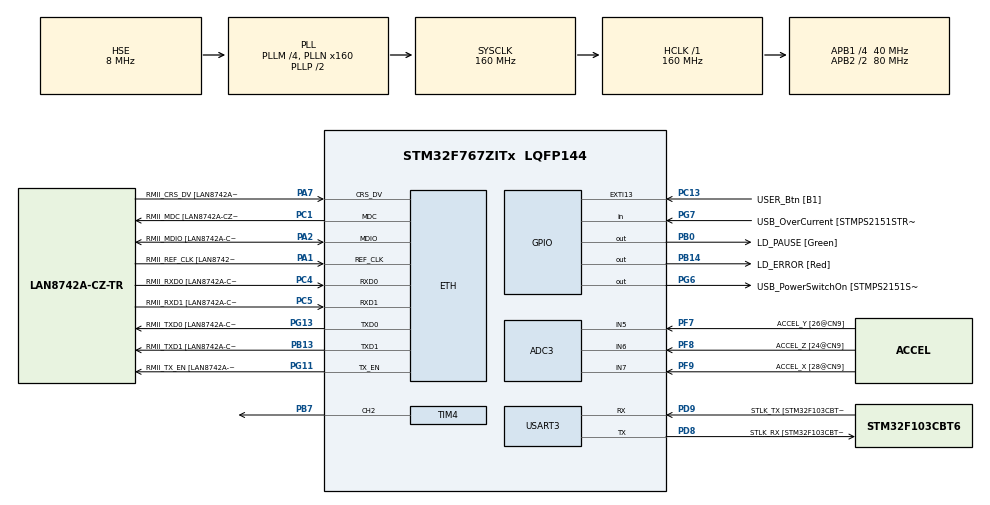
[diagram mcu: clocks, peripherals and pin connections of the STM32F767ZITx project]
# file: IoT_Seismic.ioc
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ADC3.Channel-1\#ChannelRegularConversion=ADC_CHANNEL_7
ADC3.Channel-2\#ChannelRegularConversion=ADC_CHANNEL_5
ADC3.Channel-3\#ChannelRegularConversion=ADC_CHANNEL_6
ADC3.DMAContinuousRequests=ENABLE
ADC3.EOCSelection=ADC_EOC_SEQ_CONV
ADC3.ExternalTrigConv=ADC_EXTERNALTRIGCONV_T6_TRGO
ADC3.NbrOfConversion=3
ADC3.NbrOfConversionFlag=1
ADC3.Rank-1\#ChannelRegularConversion=1
ADC3.Rank-2\#ChannelRegularConversion=2
ADC3.Rank-3\#ChannelRegularConversion=3
ADC3.SamplingTime-1\#ChannelRegularConversion=ADC_SAMPLETIME_3CYCLES
ADC3.SamplingTime-2\#ChannelRegularConversion=ADC_SAMPLETIME_3CYCLES
ADC3.SamplingTime-3\#ChannelRegularConversion=ADC_SAMPLETIME_3CYCLES
Dma.ADC3.0.Direction=DMA_PERIPH_TO_MEMORY
Dma.ADC3.0.FIFOMode=DMA_FIFOMODE_DISABLE
Dma.ADC3.0.Instance=DMA2_Stream0
Dma.ADC3.0.MemDataAlignment=DMA_MDATAALIGN_HALFWORD
Dma.ADC3.0.MemInc=DMA_MINC_ENABLE
Dma.ADC3.0.Mode=DMA_CIRCULAR
Dma.ADC3.0.PeriphDataAlignment=DMA_PDATAALIGN_HALFWORD
Dma.ADC3.0.PeriphInc=DMA_PINC_DISABLE
Dma.ADC3.0.Priority=DMA_PRIORITY_LOW
Dma.Request0=ADC3
ETH.MACAddr=00\:80\:E1\:00\:00\:03
ETH.MediaInterface=HAL_ETH_RMII_MODE
FREERTOS.INCLUDE_uxTaskGetStackHighWaterMark=1
FREERTOS.INCLUDE_vTaskDelayUntil=1
FREERTOS.Tasks01=systemConductor,2,256,SystemConductor,Default,NULL,Dynamic,NULL,NULL
FREERTOS.configTOTAL_HEAP_SIZE=393216
FREERTOS.configUSE_NEWLIB_REENTRANT=1
FREERTOS.configUSE_TIMERS=0
LWIP.BSP.number=1
LWIP.GATEWAY_ADDRESS=192.168.001.001
LWIP.IP_ADDRESS=192.168.001.183
LWIP.IP_FORWARD_ALLOW_TX_ON_RX_NETIF=1
LWIP.IP_SOF_BROADCAST=1
LWIP.IP_SOF_BROADCAST_RECV=1
LWIP.LWIP_DHCP=0
LWIP.LWIP_DNS=1
LWIP.LWIP_ICMP=1
LWIP.LWIP_RAW=0
LWIP.LWIP_SINGLE_NETIF=0
LWIP.LWIP_SO_RCVTIMEO=1
LWIP.LWIP_SO_SNDTIMEO=0
LWIP.LWIP_TCPIP_CORE_LOCKING=0
LWIP.MEM_SIZE=16000
LWIP.NETMASK_ADDRESS=255.255.255.000
LWIP.Version=v2.1.2_Cube
LWIP0.BSP.STBoard=false
LWIP0.BSP.api=BSP_COMPONENT_DRIVER
LWIP0.BSP.component=LAN8742
LWIP0.BSP.instance=LAN8742
LWIP0.BSP.name=Driver_PHY
LWIP0.BSP.semaphore=S_LAN8742
LWIP0.BSP.solution=LAN8742
Mcu.Family=STM32F7
Mcu.Name=STM32F767ZITx
Mcu.Package=LQFP144
NVIC.ADC_IRQn=true\:5\:0\:false\:false\:true\:true\:true\:true\:true
NVIC.DMA2_Stream0_IRQn=true\:5\:0\:false\:false\:true\:true\:false\:true\:true
NVIC.ETH_IRQn=true\:5\:0\:false\:false\:true\:true\:false\:true\:true
NVIC.EXTI15_10_IRQn=true\:5\:0\:false\:false\:true\:true\:true\:true\:true
NVIC.PriorityGroup=NVIC_PRIORITYGROUP_4
NVIC.TIM1_UP_TIM10_IRQn=true\:15\:0\:false\:false\:true\:false\:false\:true\:true
NVIC.TIM6_DAC_IRQn=true\:5\:0\:false\:false\:true\:true\:true\:true\:true
NVIC.TimeBase=TIM1_UP_TIM10_IRQn
NVIC.TimeBaseIP=TIM1
PA1.GPIO_Label=RMII_REF_CLK [LAN8742A-CZ-TR_REFCLK0]
PA1.Mode=RMII
PA1.Signal=ETH_REF_CLK
PA10.GPIO_Label=USB_ID
PA10.Signal=USB_OTG_FS_ID
PA11.GPIO_Label=USB_DM
PA11.Signal=USB_OTG_FS_DM
PA12.GPIO_Label=USB_DP
PA12.Signal=USB_OTG_FS_DP
PA13.GPIO_Label=TMS
PA13.Signal=SYS_JTMS-SWDIO
PA14.GPIO_Label=TCK
PA14.Signal=SYS_JTCK-SWCLK
PA2.GPIO_Label=RMII_MDIO [LAN8742A-CZ-TR_MDIO]
PA2.Mode=RMII
PA2.Signal=ETH_MDIO
PA7.GPIO_Label=RMII_CRS_DV [LAN8742A-CZ-TR_CRS_DV]
PA7.Mode=RMII
PA7.Signal=ETH_CRS_DV
PA8.GPIO_Label=USB_SOF [TP1]
PA8.Signal=USB_OTG_FS_SOF
PA9.GPIO_Label=USB_VBUS
PA9.Signal=USB_OTG_FS_VBUS
PB0.GPIO_Label=LD_PAUSE [Green]
PB0.Signal=GPIO_Output
PB13.GPIO_Label=RMII_TXD1 [LAN8742A-CZ-TR_TXD1]
PB13.Mode=RMII
PB13.Signal=ETH_TXD1
PB14.GPIO_Label=LD_ERROR [Red]
PB14.Signal=GPIO_Output
PB3.GPIO_Label=SW0
PB3.Signal=SYS_JTDO-SWO
PB7.Signal=S_TIM4_CH2
PC1.GPIO_Label=RMII_MDC [LAN8742A-CZ-TR_MDC]
PC1.Mode=RMII
PC1.Signal=ETH_MDC
PC13.GPIO_Label=USER_Btn [B1]
PC13.Signal=GPXTI13
PC14/OSC32_IN.Signal=RCC_OSC32_IN
PC15/OSC32_OUT.Signal=RCC_OSC32_OUT
PC4.GPIO_Label=RMII_RXD0 [LAN8742A-CZ-TR_RXD0]
PC4.Mode=RMII
PC4.Signal=ETH_RXD0
PC5.GPIO_Label=RMII_RXD1 [LAN8742A-CZ-TR_RXD1]
PC5.Mode=RMII
PC5.Signal=ETH_RXD1
PD8.GPIO_Label=STLK_RX [STM32F103CBT6_PA3]
PD8.Mode=Asynchronous
PD8.Signal=USART3_TX
PD9.GPIO_Label=STLK_TX [STM32F103CBT6_PA2]
PD9.Mode=Asynchronous
PD9.Signal=USART3_RX
PF7.GPIO_Label=ACCEL_Y [26@CN9]
PF7.Mode=IN5
PF7.Signal=ADC3_IN5
PF8.GPIO_Label=ACCEL_Z [24@CN9]
PF8.Mode=IN6
PF8.Signal=ADC3_IN6
PF9.GPIO_Label=ACCEL_X [28@CN9]
PF9.Mode=IN7
PF9.Signal=ADC3_IN7
PG11.GPIO_Label=RMII_TX_EN [LAN8742A-CZ-TR_TXEN]
PG11.Mode=RMII
PG11.Signal=ETH_TX_EN
PG13.GPIO_Label=RMII_TXD0 [LAN8742A-CZ-TR_TXD0]
PG13.Mode=RMII
PG13.Signal=ETH_TXD0
PG6.GPIO_Label=USB_PowerSwitchOn [STMPS2151STR_EN]
PG6.Signal=GPIO_Output
PG7.GPIO_Label=USB_OverCurrent [STMPS2151STR_FAULT]
PG7.Signal=GPIO_Input
PH0/OSC_IN.GPIO_Label=MCO [STM32F103CBT6_PA8]
PH0/OSC_IN.Mode=HSE-External-Clock-Source
PH0/OSC_IN.Signal=RCC_OSC_IN
PH1/OSC_OUT.Mode=HSE-External-Clock-Source
PH1/OSC_OUT.Signal=RCC_OSC_OUT
ProjectManager.HeapSize=0x200
ProjectManager.StackSize=0x400
ProjectManager.TargetToolchain=STM32CubeIDE
RCC.48MHZClocksFreq_Value=24000000
RCC.AHBFreq_Value=160000000
RCC.APB1CLKDivider=RCC_HCLK_DIV4
RCC.APB1Freq_Value=40000000
RCC.APB1TimFreq_Value=80000000
RCC.APB2CLKDivider=RCC_HCLK_DIV2
RCC.APB2Freq_Value=80000000
RCC.APB2TimFreq_Value=160000000
RCC.CortexFreq_Value=160000000
RCC.HCLKFreq_Value=160000000
RCC.HSE_VALUE=8000000
RCC.HSI_VALUE=16000000
RCC.LSE_VALUE=32768
RCC.PLLM=4
RCC.PLLMUL=RCC_PLL_MUL9
RCC.PLLN=160
RCC.PLLSourceVirtual=RCC_PLLSOURCE_HSE
RCC.PRESCALERUSB=RCC_USBCLKSOURCE_PLL_DIV1_5
RCC.SYSCLKFreq_VALUE=160000000
RCC.SYSCLKSource=RCC_SYSCLKSOURCE_PLLCLK
RCC.SYSCLKSourceVirtual=RCC_SYSCLKSOURCE_PLLCLK
RCC.USART3CLockSelection=RCC_USART3CLKSOURCE_HSI
RCC.USBFreq_Value=160000000
RCC.VCOOutputFreq_Value=320000000
SH.S_TIM4_CH2.0=TIM4_CH2,Output Compare2 CH2
TIM4.Channel-Output\ Compare2\ CH2=TIM_CHANNEL_2
TIM4.OCMode_2=TIM_OCMODE_TOGGLE
TIM4.Period=50000-1
TIM4.Prescaler=800-1
TIM4.Pulse-Output\ Compare2\ CH2=50000-1
TIM6.Period=10000-1
TIM6.Prescaler=80-1
TIM6.TIM_MasterOutputTrigger=TIM_TRGO_UPDATE
USART3.VirtualMode-Asynchronous=VM_ASYNC
VP_FREERTOS_VS_CMSIS_V1.Mode=CMSIS_V1
VP_LWIP_VS_Enabled.Mode=Enabled
VP_RTC_VS_RTC_Activate.Mode=RTC_Enabled
VP_RTC_VS_RTC_Calendar.Mode=RTC_Calendar
VP_SYS_VS_tim1.Mode=TIM1
VP_TIM6_VS_ClockSourceINT.Mode=Enable_Timer
board=NUCLEO-F767ZI

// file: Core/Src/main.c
/* USER CODE BEGIN Header */
/**
  ******************************************************************************
  * @file           : main.c
  * @brief          : Main program body
  ******************************************************************************
  * @attention
  *
  * Copyright (c) 2025 STMicroelectronics.
  * All rights reserved.
  *
  * This software is licensed under terms that can be found in the LICENSE file
  * in the root directory of this software component.
  * If no LICENSE file comes with this software, it is provided AS-IS.
  *
  ******************************************************************************
  */
/* USER CODE END Header */
#include "main.h"
#include "cmsis_os.h"
#include "lwip.h"

/* USER CODE BEGIN Includes */
#include "seismic.h"
#include "seismic_io.h"
#include "seismic_log.h"
#include "seismic_net.h"
/* USER CODE END Includes */

/* USER CODE BEGIN PD */
#define DEBUG_MEMORY             (1)
#define DEBUG_POLLING_DELAY      (60000)
#define SYS_DEBOUNCE_MSEC        (100)
/* USER CODE END PD */

ADC_HandleTypeDef hadc3;
DMA_HandleTypeDef hdma_adc3;

RTC_HandleTypeDef hrtc;

TIM_HandleTypeDef htim4;
TIM_HandleTypeDef htim6;

UART_HandleTypeDef huart3;

osThreadId systemConductorHandle;
/* USER CODE BEGIN PV */
#if DEBUG_MEMORY
osThreadId memoryAnalyserHandle;
#endif

uint16_t accelDmaBuffer[ACCEL_SAMPLES] = {0x00};
uint8_t tasksState = SYS_TASKS_PAUSED;

/* USER CODE END PV */

void SystemClock_Config(void);
static void MX_GPIO_Init(void);
static void MX_DMA_Init(void);
static void MX_USART3_UART_Init(void);
static void MX_RTC_Init(void);
static void MX_ADC3_Init(void);
static void MX_TIM6_Init(void);
static void MX_TIM4_Init(void);
void SystemConductor(void const * argument);

/* USER CODE BEGIN PFP */
#if DEBUG_MEMORY
void MemoryAnalyser(void const * argument);
#endif
/* USER CODE END PFP */

int main(void)
{

  /* MCU Configuration--------------------------------------------------------*/

  /* Reset of all peripherals, Initializes the Flash interface and the Systick. */
  HAL_Init();

  /* Configure the system clock */
  SystemClock_Config();

  /* Initialize all configured peripherals */
  MX_GPIO_Init();
  MX_DMA_Init();
  MX_USART3_UART_Init();
  MX_RTC_Init();
  MX_ADC3_Init();
  MX_TIM6_Init();
  MX_TIM4_Init();

  /* Create the thread(s) */
  /* definition and creation of systemConductor */
  osThreadDef(systemConductor, SystemConductor, osPriorityHigh, 0, 256);
  systemConductorHandle = osThreadCreate(osThread(systemConductor), NULL);

  /* USER CODE BEGIN RTOS_THREADS */
  initLogger(&huart3);
  initIOs(&htim4, &htim6);
  initNetwork();

#if DEBUG_MEMORY
  osThreadDef(memoryAnalyser, MemoryAnalyser, osPriorityNormal, 0, 256);
  memoryAnalyserHandle = osThreadCreate(osThread(memoryAnalyser), NULL);
#endif
  /* USER CODE END RTOS_THREADS */

  /* Start scheduler */
  osKernelStart();

  /* We should never get here as control is now taken by the scheduler */

  /* Infinite loop */
  while (1)
  {

  }
}

void SystemClock_Config(void)
{
  RCC_OscInitTypeDef RCC_OscInitStruct = {0};
  RCC_ClkInitTypeDef RCC_ClkInitStruct = {0};

  /** Configure the main internal regulator output voltage
  */
  __HAL_RCC_PWR_CLK_ENABLE();
  __HAL_PWR_VOLTAGESCALING_CONFIG(PWR_REGULATOR_VOLTAGE_SCALE2);

  /** Initializes the RCC Oscillators according to the specified parameters
  * in the RCC_OscInitTypeDef structure.
  */
  RCC_OscInitStruct.OscillatorType = RCC_OSCILLATORTYPE_HSI|RCC_OSCILLATORTYPE_LSI
                              |RCC_OSCILLATORTYPE_HSE;
  RCC_OscInitStruct.HSEState = RCC_HSE_BYPASS;
  RCC_OscInitStruct.HSIState = RCC_HSI_ON;
  RCC_OscInitStruct.HSICalibrationValue = RCC_HSICALIBRATION_DEFAULT;
  RCC_OscInitStruct.LSIState = RCC_LSI_ON;
  RCC_OscInitStruct.PLL.PLLState = RCC_PLL_ON;
  RCC_OscInitStruct.PLL.PLLSource = RCC_PLLSOURCE_HSE;
  RCC_OscInitStruct.PLL.PLLM = 4;
  RCC_OscInitStruct.PLL.PLLN = 160;
  RCC_OscInitStruct.PLL.PLLP = RCC_PLLP_DIV2;
  RCC_OscInitStruct.PLL.PLLQ = 2;
  RCC_OscInitStruct.PLL.PLLR = 2;
  if (HAL_RCC_OscConfig(&RCC_OscInitStruct) != HAL_OK)
  {
    Error_Handler();
  }

  /** Initializes the CPU, AHB and APB buses clocks
  */
  RCC_ClkInitStruct.ClockType = RCC_CLOCKTYPE_HCLK|RCC_CLOCKTYPE_SYSCLK
                              |RCC_CLOCKTYPE_PCLK1|RCC_CLOCKTYPE_PCLK2;
  RCC_ClkInitStruct.SYSCLKSource = RCC_SYSCLKSOURCE_PLLCLK;
  RCC_ClkInitStruct.AHBCLKDivider = RCC_SYSCLK_DIV1;
  RCC_ClkInitStruct.APB1CLKDivider = RCC_HCLK_DIV4;
  RCC_ClkInitStruct.APB2CLKDivider = RCC_HCLK_DIV2;

  if (HAL_RCC_ClockConfig(&RCC_ClkInitStruct, FLASH_LATENCY_5) != HAL_OK)
  {
    Error_Handler();
  }
}

static void MX_ADC3_Init(void)
{

  ADC_ChannelConfTypeDef sConfig = {0};

  /** Configure the global features of the ADC (Clock, Resolution, Data Alignment and number of conversion)
  */
  hadc3.Instance = ADC3;
  hadc3.Init.ClockPrescaler = ADC_CLOCK_SYNC_PCLK_DIV4;
  hadc3.Init.Resolution = ADC_RESOLUTION_12B;
  hadc3.Init.ScanConvMode = ADC_SCAN_ENABLE;
  hadc3.Init.ContinuousConvMode = DISABLE;
  hadc3.Init.DiscontinuousConvMode = DISABLE;
  hadc3.Init.ExternalTrigConvEdge = ADC_EXTERNALTRIGCONVEDGE_RISING;
  hadc3.Init.ExternalTrigConv = ADC_EXTERNALTRIGCONV_T6_TRGO;
  hadc3.Init.DataAlign = ADC_DATAALIGN_RIGHT;
  hadc3.Init.NbrOfConversion = 3;
  hadc3.Init.DMAContinuousRequests = ENABLE;
  hadc3.Init.EOCSelection = ADC_EOC_SEQ_CONV;
  if (HAL_ADC_Init(&hadc3) != HAL_OK)
  {
    Error_Handler();
  }

  /** Configure for the selected ADC regular channel its corresponding rank in the sequencer and its sample time.
  */
  sConfig.Channel = ADC_CHANNEL_7;
  sConfig.Rank = ADC_REGULAR_RANK_1;
  sConfig.SamplingTime = ADC_SAMPLETIME_3CYCLES;
  if (HAL_ADC_ConfigChannel(&hadc3, &sConfig) != HAL_OK)
  {
    Error_Handler();
  }

  /** Configure for the selected ADC regular channel its corresponding rank in the sequencer and its sample time.
  */
  sConfig.Channel = ADC_CHANNEL_5;
  sConfig.Rank = ADC_REGULAR_RANK_2;
  if (HAL_ADC_ConfigChannel(&hadc3, &sConfig) != HAL_OK)
  {
    Error_Handler();
  }

  /** Configure for the selected ADC regular channel its corresponding rank in the sequencer and its sample time.
  */
  sConfig.Channel = ADC_CHANNEL_6;
  sConfig.Rank = ADC_REGULAR_RANK_3;
  if (HAL_ADC_ConfigChannel(&hadc3, &sConfig) != HAL_OK)
  {
    Error_Handler();
  }

}

static void MX_RTC_Init(void)
{

  RTC_TimeTypeDef sTime = {0};
  RTC_DateTypeDef sDate = {0};

  /** Initialize RTC Only
  */
  hrtc.Instance = RTC;
  hrtc.Init.HourFormat = RTC_HOURFORMAT_24;
  hrtc.Init.AsynchPrediv = 127;
  hrtc.Init.SynchPrediv = 255;
  hrtc.Init.OutPut = RTC_OUTPUT_DISABLE;
  hrtc.Init.OutPutPolarity = RTC_OUTPUT_POLARITY_HIGH;
  hrtc.Init.OutPutType = RTC_OUTPUT_TYPE_OPENDRAIN;
  if (HAL_RTC_Init(&hrtc) != HAL_OK)
  {
    Error_Handler();
  }

  /** Initialize RTC and set the Time and Date
  */
  sTime.Hours = 0x0;
  sTime.Minutes = 0x0;
  sTime.Seconds = 0x0;
  sTime.DayLightSaving = RTC_DAYLIGHTSAVING_NONE;
  sTime.StoreOperation = RTC_STOREOPERATION_RESET;
  if (HAL_RTC_SetTime(&hrtc, &sTime, RTC_FORMAT_BCD) != HAL_OK)
  {
    Error_Handler();
  }
  sDate.WeekDay = RTC_WEEKDAY_MONDAY;
  sDate.Month = RTC_MONTH_JANUARY;
  sDate.Date = 0x1;
  sDate.Year = 0x0;

  if (HAL_RTC_SetDate(&hrtc, &sDate, RTC_FORMAT_BCD) != HAL_OK)
  {
    Error_Handler();
  }

}

static void MX_TIM4_Init(void)
{

  TIM_MasterConfigTypeDef sMasterConfig = {0};
  TIM_OC_InitTypeDef sConfigOC = {0};

  htim4.Instance = TIM4;
  htim4.Init.Prescaler = 800-1;
  htim4.Init.CounterMode = TIM_COUNTERMODE_UP;
  htim4.Init.Period = 50000-1;
  htim4.Init.ClockDivision = TIM_CLOCKDIVISION_DIV1;
  htim4.Init.AutoReloadPreload = TIM_AUTORELOAD_PRELOAD_DISABLE;
  if (HAL_TIM_OC_Init(&htim4) != HAL_OK)
  {
    Error_Handler();
  }
  sMasterConfig.MasterOutputTrigger = TIM_TRGO_RESET;
  sMasterConfig.MasterSlaveMode = TIM_MASTERSLAVEMODE_DISABLE;
  if (HAL_TIMEx_MasterConfigSynchronization(&htim4, &sMasterConfig) != HAL_OK)
  {
    Error_Handler();
  }
  sConfigOC.OCMode = TIM_OCMODE_TOGGLE;
  sConfigOC.Pulse = 50000-1;
  sConfigOC.OCPolarity = TIM_OCPOLARITY_HIGH;
  sConfigOC.OCFastMode = TIM_OCFAST_DISABLE;
  if (HAL_TIM_OC_ConfigChannel(&htim4, &sConfigOC, TIM_CHANNEL_2) != HAL_OK)
  {
    Error_Handler();
  }
  HAL_TIM_MspPostInit(&htim4);

}

static void MX_TIM6_Init(void)
{

  TIM_MasterConfigTypeDef sMasterConfig = {0};

  htim6.Instance = TIM6;
  htim6.Init.Prescaler = 80-1;
  htim6.Init.CounterMode = TIM_COUNTERMODE_UP;
  htim6.Init.Period = 10000-1;
  htim6.Init.AutoReloadPreload = TIM_AUTORELOAD_PRELOAD_DISABLE;
  if (HAL_TIM_Base_Init(&htim6) != HAL_OK)
  {
    Error_Handler();
  }
  sMasterConfig.MasterOutputTrigger = TIM_TRGO_UPDATE;
  sMasterConfig.MasterSlaveMode = TIM_MASTERSLAVEMODE_DISABLE;
  if (HAL_TIMEx_MasterConfigSynchronization(&htim6, &sMasterConfig) != HAL_OK)
  {
    Error_Handler();
  }

}

static void MX_USART3_UART_Init(void)
{

  huart3.Instance = USART3;
  huart3.Init.BaudRate = 115200;
  huart3.Init.WordLength = UART_WORDLENGTH_8B;
  huart3.Init.StopBits = UART_STOPBITS_1;
  huart3.Init.Parity = UART_PARITY_NONE;
  huart3.Init.Mode = UART_MODE_TX_RX;
  huart3.Init.HwFlowCtl = UART_HWCONTROL_NONE;
  huart3.Init.OverSampling = UART_OVERSAMPLING_16;
  huart3.Init.OneBitSampling = UART_ONE_BIT_SAMPLE_DISABLE;
  huart3.AdvancedInit.AdvFeatureInit = UART_ADVFEATURE_NO_INIT;
  if (HAL_UART_Init(&huart3) != HAL_OK)
  {
    Error_Handler();
  }

}

static void MX_DMA_Init(void)
{

  /* DMA controller clock enable */
  __HAL_RCC_DMA2_CLK_ENABLE();

  /* DMA interrupt init */
  /* DMA2_Stream0_IRQn interrupt configuration */
  HAL_NVIC_SetPriority(DMA2_Stream0_IRQn, 5, 0);
  HAL_NVIC_EnableIRQ(DMA2_Stream0_IRQn);

}

static void MX_GPIO_Init(void)
{
  GPIO_InitTypeDef GPIO_InitStruct = {0};

  /* GPIO Ports Clock Enable */
  __HAL_RCC_GPIOC_CLK_ENABLE();
  __HAL_RCC_GPIOF_CLK_ENABLE();
  __HAL_RCC_GPIOH_CLK_ENABLE();
  __HAL_RCC_GPIOA_CLK_ENABLE();
  __HAL_RCC_GPIOB_CLK_ENABLE();
  __HAL_RCC_GPIOD_CLK_ENABLE();
  __HAL_RCC_GPIOG_CLK_ENABLE();

  /*Configure GPIO pin Output Level */
  HAL_GPIO_WritePin(GPIOB, LD_PAUSE_Pin|LD_ERROR_Pin, GPIO_PIN_RESET);

  /*Configure GPIO pin Output Level */
  HAL_GPIO_WritePin(USB_PowerSwitchOn_GPIO_Port, USB_PowerSwitchOn_Pin, GPIO_PIN_RESET);

  /*Configure GPIO pin : USER_Btn_Pin */
  GPIO_InitStruct.Pin = USER_Btn_Pin;
  GPIO_InitStruct.Mode = GPIO_MODE_IT_RISING;
  GPIO_InitStruct.Pull = GPIO_NOPULL;
  HAL_GPIO_Init(USER_Btn_GPIO_Port, &GPIO_InitStruct);

  /*Configure GPIO pins : LD_PAUSE_Pin LD_ERROR_Pin */
  GPIO_InitStruct.Pin = LD_PAUSE_Pin|LD_ERROR_Pin;
  GPIO_InitStruct.Mode = GPIO_MODE_OUTPUT_PP;
  GPIO_InitStruct.Pull = GPIO_NOPULL;
  GPIO_InitStruct.Speed = GPIO_SPEED_FREQ_LOW;
  HAL_GPIO_Init(GPIOB, &GPIO_InitStruct);

  /*Configure GPIO pin : USB_PowerSwitchOn_Pin */
  GPIO_InitStruct.Pin = USB_PowerSwitchOn_Pin;
  GPIO_InitStruct.Mode = GPIO_MODE_OUTPUT_PP;
  GPIO_InitStruct.Pull = GPIO_NOPULL;
  GPIO_InitStruct.Speed = GPIO_SPEED_FREQ_LOW;
  HAL_GPIO_Init(USB_PowerSwitchOn_GPIO_Port, &GPIO_InitStruct);

  /*Configure GPIO pin : USB_OverCurrent_Pin */
  GPIO_InitStruct.Pin = USB_OverCurrent_Pin;
  GPIO_InitStruct.Mode = GPIO_MODE_INPUT;
  GPIO_InitStruct.Pull = GPIO_NOPULL;
  HAL_GPIO_Init(USB_OverCurrent_GPIO_Port, &GPIO_InitStruct);

  /*Configure GPIO pins : USB_SOF_Pin USB_ID_Pin USB_DM_Pin USB_DP_Pin */
  GPIO_InitStruct.Pin = USB_SOF_Pin|USB_ID_Pin|USB_DM_Pin|USB_DP_Pin;
  GPIO_InitStruct.Mode = GPIO_MODE_AF_PP;
  GPIO_InitStruct.Pull = GPIO_NOPULL;
  GPIO_InitStruct.Speed = GPIO_SPEED_FREQ_VERY_HIGH;
  GPIO_InitStruct.Alternate = GPIO_AF10_OTG_FS;
  HAL_GPIO_Init(GPIOA, &GPIO_InitStruct);

  /*Configure GPIO pin : USB_VBUS_Pin */
  GPIO_InitStruct.Pin = USB_VBUS_Pin;
  GPIO_InitStruct.Mode = GPIO_MODE_INPUT;
  GPIO_InitStruct.Pull = GPIO_NOPULL;
  HAL_GPIO_Init(USB_VBUS_GPIO_Port, &GPIO_InitStruct);

  /* EXTI interrupt init*/
  HAL_NVIC_SetPriority(EXTI15_10_IRQn, 5, 0);
  HAL_NVIC_EnableIRQ(EXTI15_10_IRQn);

}

/* USER CODE BEGIN 4 */
#if DEBUG_MEMORY
void MemoryAnalyser(void const * argument)
{
	logMessage(TID_DEBUG "Memory analyser ready." ENDL);
  while (1)
  {
  	if (tasksState == SYS_TASKS_PAUSED)
  	{
  		osSignalWait(SIG_RESUME, osWaitForever);
  	}

  	logMessage(
  			"Stack high watermarks in 4-byte words: " ENDL
				"\tSYS: %3d" ENDL "\tLOG: %3d" ENDL "\tLED: %3d" ENDL
				"\tADC: %3d" ENDL "\tNET: %3d" ENDL "\tUDP: %3d" ENDL
				"\tSRV: %3d" ENDL "\tCLI: %3d" ENDL "\tLIS: %3d" ENDL,
				(uint32_t)uxTaskGetStackHighWaterMark(systemConductorHandle),
				(uint32_t)uxTaskGetStackHighWaterMark(loggerHandle),
				(uint32_t)uxTaskGetStackHighWaterMark(heartbeatHandle),
				(uint32_t)uxTaskGetStackHighWaterMark(accelerometerHandle),
				(uint32_t)uxTaskGetStackHighWaterMark(ethernetLinkMonitorHandle),
				(uint32_t)uxTaskGetStackHighWaterMark(networkBroadcastHandle),
				(uint32_t)uxTaskGetStackHighWaterMark(networkServerHandle),
				(uint32_t)uxTaskGetStackHighWaterMark(networkClientHandle),
				(uint32_t)uxTaskGetStackHighWaterMark(networkListenerHandle)
    );

    osDelay(DEBUG_POLLING_DELAY);
  }
}
#endif

void HAL_GPIO_EXTI_Callback(uint16_t GPIO_Pin)
{
	if (GPIO_Pin == USER_Btn_Pin)
	{
		osSignalSet(systemConductorHandle, SIG_BUTTON);
	}
}
/* USER CODE END 4 */

void SystemConductor(void const * argument)
{
  /* init code for LWIP */
  MX_LWIP_Init();
  /* USER CODE BEGIN 5 */
  osSignalSet(ethernetLinkMonitorHandle, SIG_LWIP);
  HAL_ADC_Start_DMA(&hadc3, (uint32_t *)accelDmaBuffer, ACCEL_SAMPLES);
  HAL_GPIO_WritePin(LD_PAUSE_GPIO_Port, LD_PAUSE_Pin, GPIO_PIN_SET);
  logMessage(TID_SYS "Started System Conductor." ENDL);
  /* Infinite loop */
  osEvent event;
  uint32_t lastTicks = 0;
  uint32_t currentTicks;
  for(;;)
  {
  	event = osSignalWait(SIG_BUTTON, osWaitForever);
  	if (event.status != osEventSignal)
  		continue;

  	currentTicks = osKernelSysTick();
  	if (lastTicks > currentTicks)
  		lastTicks =  0;
  	if ((currentTicks - lastTicks) < SYS_DEBOUNCE_MSEC)
  		continue;
  	lastTicks = currentTicks;

  	switch (tasksState)
  	{
  	case SYS_TASKS_RUNNING:
  		tasksState = SYS_TASKS_PAUSED;
  		osSignalSet(heartbeatHandle, SIG_PAUSE);
  		osSemaphoreRelease(accelerometerSemHandle);
			HAL_GPIO_WritePin(LD_PAUSE_GPIO_Port, LD_PAUSE_Pin, GPIO_PIN_SET);
			break;
  	case SYS_TASKS_PAUSED:
			tasksState = SYS_TASKS_RUNNING;
			HAL_GPIO_WritePin(LD_PAUSE_GPIO_Port, LD_PAUSE_Pin, GPIO_PIN_RESET);
			osSignalSet(heartbeatHandle, SIG_RESUME);
			osSemaphoreRelease(accelerometerSemHandle);
			osSignalSet(ethernetLinkMonitorHandle, SIG_RESUME);
#if DEBUG_MEMORY
			osSignalSet(memoryAnalyserHandle, SIG_RESUME);
#endif
			break;
  	default:
  		logMessage(TID_SYS "Invalid task state - 0x%02X." ENDL, tasksState);
  		Error_Handler();
  	}
  }
  /* USER CODE END 5 */
}

void HAL_TIM_PeriodElapsedCallback(TIM_HandleTypeDef *htim)
{
  if (htim->Instance == TIM1)
  {
    HAL_IncTick();
  }
}

void Error_Handler(void)
{
  /* USER CODE BEGIN Error_Handler_Debug */
  /* User can add his own implementation to report the HAL error return state */
  __disable_irq();
  HAL_GPIO_WritePin(LD_ERROR_GPIO_Port, LD_ERROR_Pin, GPIO_PIN_SET);
  while (1)
  {
  }
  /* USER CODE END Error_Handler_Debug */
}
